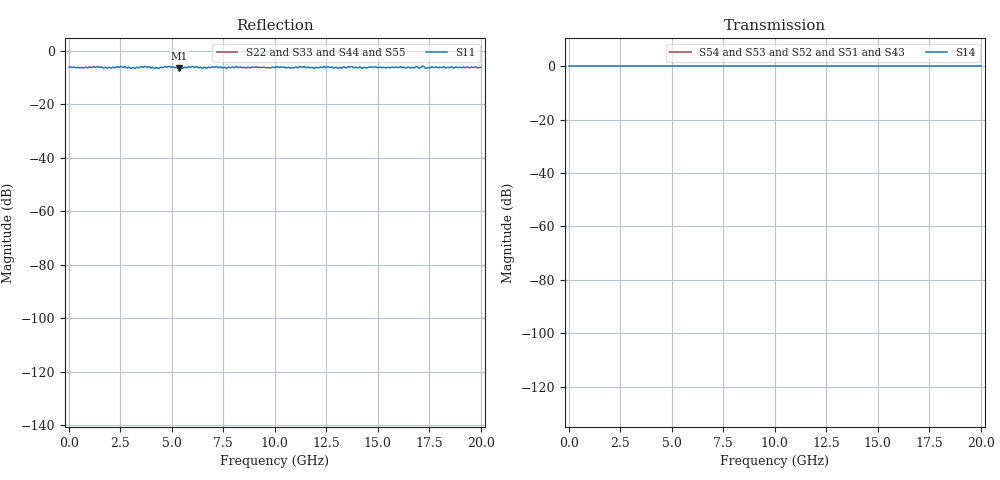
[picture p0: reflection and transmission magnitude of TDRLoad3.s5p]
! File created by SignalIntegrity v1.3.3: Signal and Power Integrity Tools
! https://github.com/TeledyneLeCroy/SignalIntegrity
# MHz S MA R 50.0
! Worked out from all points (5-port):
!   1000 points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, 20 MHz to 20 GHz, reference 50 ohm
!   strongest paths, dB at 20 MHz, 5.02 GHz, 10.02 GHz, 15.02 GHz, 20 GHz:
!     S14: 0.0, 0.0, 0.0, 0.0, 0.0
!     S54: -, -, -, -, -
!     S53: -, -, -, -, -
!     S52: -, -, -, -, -
!     S51: -, -, -, -, -
!     S43: -, -, -, -, -
!   lowest |S11| = -6.5 dB at 5.34 GHz (marker M1), VSWR 2.79, Z = 139 - j1.39 ohm
!   |S11| at or under -10 dB: nowhere
